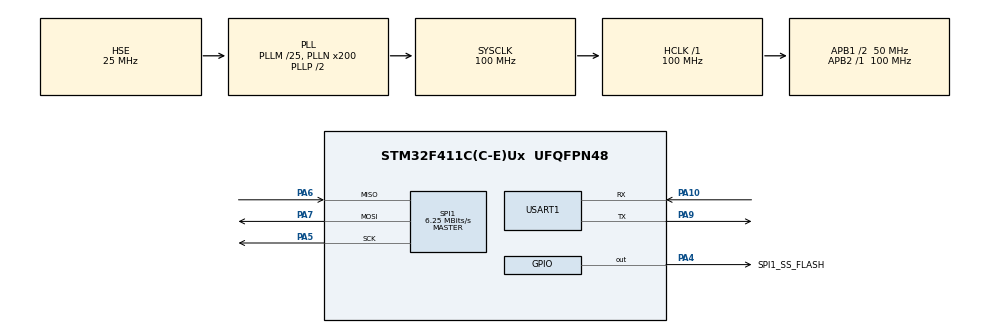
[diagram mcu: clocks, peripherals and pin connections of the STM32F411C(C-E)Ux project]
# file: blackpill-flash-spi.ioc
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FREERTOS.Tasks01=flash_task,24,512,start_flash_task,Default,NULL,Dynamic,NULL,NULL
Mcu.Family=STM32F4
Mcu.Name=STM32F411C(C-E)Ux
Mcu.Package=UFQFPN48
NVIC.PriorityGroup=NVIC_PRIORITYGROUP_4
NVIC.TIM1_UP_TIM10_IRQn=true\:15\:0\:false\:false\:true\:false\:false\:true\:true
NVIC.TimeBase=TIM1_UP_TIM10_IRQn
NVIC.TimeBaseIP=TIM1
PA10.Mode=Asynchronous
PA10.Signal=USART1_RX
PA13.Mode=Serial_Wire
PA13.Signal=SYS_JTMS-SWDIO
PA14.Mode=Serial_Wire
PA14.Signal=SYS_JTCK-SWCLK
PA4.GPIO_Label=SPI1_SS_FLASH
PA4.Signal=GPIO_Output
PA5.Mode=Full_Duplex_Master
PA5.Signal=SPI1_SCK
PA6.Mode=Full_Duplex_Master
PA6.Signal=SPI1_MISO
PA7.Mode=Full_Duplex_Master
PA7.Signal=SPI1_MOSI
PA9.Mode=Asynchronous
PA9.Signal=USART1_TX
PH0\ -\ OSC_IN.Mode=HSE-External-Oscillator
PH0\ -\ OSC_IN.Signal=RCC_OSC_IN
PH1\ -\ OSC_OUT.Mode=HSE-External-Oscillator
PH1\ -\ OSC_OUT.Signal=RCC_OSC_OUT
ProjectManager.HeapSize=0x200
ProjectManager.StackSize=0x400
ProjectManager.TargetToolchain=CMake
RCC.48MHZClocksFreq_Value=50000000
RCC.AHBFreq_Value=100000000
RCC.APB1CLKDivider=RCC_HCLK_DIV2
RCC.APB1Freq_Value=50000000
RCC.APB1TimFreq_Value=100000000
RCC.APB2Freq_Value=100000000
RCC.APB2TimFreq_Value=100000000
RCC.CortexFreq_Value=100000000
RCC.HCLKFreq_Value=100000000
RCC.HSE_VALUE=25000000
RCC.HSI_VALUE=16000000
RCC.LSE_VALUE=32768
RCC.PLLM=25
RCC.PLLN=200
RCC.PLLSourceVirtual=RCC_PLLSOURCE_HSE
RCC.SYSCLKFreq_VALUE=100000000
RCC.SYSCLKSource=RCC_SYSCLKSOURCE_PLLCLK
RCC.VCOOutputFreq_Value=200000000
SPI1.BaudRatePrescaler=SPI_BAUDRATEPRESCALER_16
SPI1.CalculateBaudRate=6.25 MBits/s
SPI1.Direction=SPI_DIRECTION_2LINES
SPI1.Mode=SPI_MODE_MASTER
SPI1.VirtualType=VM_MASTER
USART1.VirtualMode=VM_ASYNC
VP_FREERTOS_VS_CMSIS_V2.Mode=CMSIS_V2
VP_SYS_VS_tim1.Mode=TIM1
board=custom

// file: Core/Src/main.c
/* USER CODE BEGIN Header */
/**
  ******************************************************************************
  * @file           : main.c
  * @brief          : Main program body
  ******************************************************************************
  * @attention
  *
  * Copyright (c) 2026 STMicroelectronics.
  * All rights reserved.
  *
  * This software is licensed under terms that can be found in the LICENSE file
  * in the root directory of this software component.
  * If no LICENSE file comes with this software, it is provided AS-IS.
  *
  ******************************************************************************
  */
/* USER CODE END Header */
#include "main.h"
#include "cmsis_os.h"

/* USER CODE BEGIN Includes */
#include <stdint.h>
#include <stdio.h>
#include <stdlib.h>
#include "w25qxx.h"
#include "lfs.h"
#include "w25qxx_littlefs.h"
/* USER CODE END Includes */

SPI_HandleTypeDef hspi1;

UART_HandleTypeDef huart1;

/* Definitions for flash_task */
osThreadId_t flash_taskHandle;
const osThreadAttr_t flash_task_attributes = {
  .name = "flash_task",
  .stack_size = 512 * 4,
  .priority = (osPriority_t) osPriorityNormal,
};

void SystemClock_Config(void);
static void MX_GPIO_Init(void);
static void MX_SPI1_Init(void);
static void MX_USART1_UART_Init(void);
void start_flash_task(void *argument);

int main(void)
{

  /* MCU Configuration--------------------------------------------------------*/

  /* Reset of all peripherals, Initializes the Flash interface and the Systick. */
  HAL_Init();

  /* Configure the system clock */
  SystemClock_Config();

  /* Initialize all configured peripherals */
  MX_GPIO_Init();
  MX_SPI1_Init();
  MX_USART1_UART_Init();

  /* Init scheduler */
  osKernelInitialize();

  /* Create the thread(s) */
  /* creation of flash_task */
  flash_taskHandle = osThreadNew(start_flash_task, NULL, &flash_task_attributes);

  /* Start scheduler */
  osKernelStart();

  /* We should never get here as control is now taken by the scheduler */

  /* Infinite loop */
  while (1)
  {

  }
}

void SystemClock_Config(void)
{
  RCC_OscInitTypeDef RCC_OscInitStruct = {0};
  RCC_ClkInitTypeDef RCC_ClkInitStruct = {0};

  /** Configure the main internal regulator output voltage
  */
  __HAL_RCC_PWR_CLK_ENABLE();
  __HAL_PWR_VOLTAGESCALING_CONFIG(PWR_REGULATOR_VOLTAGE_SCALE1);

  /** Initializes the RCC Oscillators according to the specified parameters
  * in the RCC_OscInitTypeDef structure.
  */
  RCC_OscInitStruct.OscillatorType = RCC_OSCILLATORTYPE_HSE;
  RCC_OscInitStruct.HSEState = RCC_HSE_ON;
  RCC_OscInitStruct.PLL.PLLState = RCC_PLL_ON;
  RCC_OscInitStruct.PLL.PLLSource = RCC_PLLSOURCE_HSE;
  RCC_OscInitStruct.PLL.PLLM = 25;
  RCC_OscInitStruct.PLL.PLLN = 200;
  RCC_OscInitStruct.PLL.PLLP = RCC_PLLP_DIV2;
  RCC_OscInitStruct.PLL.PLLQ = 4;
  if (HAL_RCC_OscConfig(&RCC_OscInitStruct) != HAL_OK)
  {
    Error_Handler();
  }

  /** Initializes the CPU, AHB and APB buses clocks
  */
  RCC_ClkInitStruct.ClockType = RCC_CLOCKTYPE_HCLK|RCC_CLOCKTYPE_SYSCLK
                              |RCC_CLOCKTYPE_PCLK1|RCC_CLOCKTYPE_PCLK2;
  RCC_ClkInitStruct.SYSCLKSource = RCC_SYSCLKSOURCE_PLLCLK;
  RCC_ClkInitStruct.AHBCLKDivider = RCC_SYSCLK_DIV1;
  RCC_ClkInitStruct.APB1CLKDivider = RCC_HCLK_DIV2;
  RCC_ClkInitStruct.APB2CLKDivider = RCC_HCLK_DIV1;

  if (HAL_RCC_ClockConfig(&RCC_ClkInitStruct, FLASH_LATENCY_3) != HAL_OK)
  {
    Error_Handler();
  }
}

static void MX_SPI1_Init(void)
{

  /* SPI1 parameter configuration*/
  hspi1.Instance = SPI1;
  hspi1.Init.Mode = SPI_MODE_MASTER;
  hspi1.Init.Direction = SPI_DIRECTION_2LINES;
  hspi1.Init.DataSize = SPI_DATASIZE_8BIT;
  hspi1.Init.CLKPolarity = SPI_POLARITY_LOW;
  hspi1.Init.CLKPhase = SPI_PHASE_1EDGE;
  hspi1.Init.NSS = SPI_NSS_SOFT;
  hspi1.Init.BaudRatePrescaler = SPI_BAUDRATEPRESCALER_16;
  hspi1.Init.FirstBit = SPI_FIRSTBIT_MSB;
  hspi1.Init.TIMode = SPI_TIMODE_DISABLE;
  hspi1.Init.CRCCalculation = SPI_CRCCALCULATION_DISABLE;
  hspi1.Init.CRCPolynomial = 10;
  if (HAL_SPI_Init(&hspi1) != HAL_OK)
  {
    Error_Handler();
  }

}

static void MX_USART1_UART_Init(void)
{

  huart1.Instance = USART1;
  huart1.Init.BaudRate = 115200;
  huart1.Init.WordLength = UART_WORDLENGTH_8B;
  huart1.Init.StopBits = UART_STOPBITS_1;
  huart1.Init.Parity = UART_PARITY_NONE;
  huart1.Init.Mode = UART_MODE_TX_RX;
  huart1.Init.HwFlowCtl = UART_HWCONTROL_NONE;
  huart1.Init.OverSampling = UART_OVERSAMPLING_16;
  if (HAL_UART_Init(&huart1) != HAL_OK)
  {
    Error_Handler();
  }

}

static void MX_GPIO_Init(void)
{
  GPIO_InitTypeDef GPIO_InitStruct = {0};

  /* GPIO Ports Clock Enable */
  __HAL_RCC_GPIOH_CLK_ENABLE();
  __HAL_RCC_GPIOA_CLK_ENABLE();

  /*Configure GPIO pin Output Level */
  HAL_GPIO_WritePin(SPI1_SS_FLASH_GPIO_Port, SPI1_SS_FLASH_Pin, GPIO_PIN_RESET);

  /*Configure GPIO pin : SPI1_SS_FLASH_Pin */
  GPIO_InitStruct.Pin = SPI1_SS_FLASH_Pin;
  GPIO_InitStruct.Mode = GPIO_MODE_OUTPUT_PP;
  GPIO_InitStruct.Pull = GPIO_NOPULL;
  GPIO_InitStruct.Speed = GPIO_SPEED_FREQ_LOW;
  HAL_GPIO_Init(SPI1_SS_FLASH_GPIO_Port, &GPIO_InitStruct);

}

void start_flash_task(void *argument)
{
  /* USER CODE BEGIN 5 */
  // UART
  static const size_t UART_BUFF_LEN = 50;
  size_t uart_str_len = 0;
  char uart_buff[UART_BUFF_LEN];

  // W25Qxx
  W25QXX_HandleTypeDef w25qxx;

  // LOOP
  static const TickType_t loop_period = pdMS_TO_TICKS(1000);
  TickType_t loop_last_time = xTaskGetTickCount();
  for (int8_t i = 3; i > 0; i--) {
    uart_str_len = sprintf(uart_buff, "count: %u\n", i);
    HAL_UART_Transmit(&huart1, (uint8_t *)uart_buff, uart_str_len, 500);
    vTaskDelayUntil(&loop_last_time, loop_period);
  }

  if (w25qxx_init(&w25qxx, &hspi1, SPI1_SS_FLASH_GPIO_Port, SPI1_SS_FLASH_Pin) == W25QXX_Ok) {
    uart_str_len = sprintf(uart_buff, "W25QXX successfully initialized\n");
    HAL_UART_Transmit(&huart1, (uint8_t *)uart_buff, uart_str_len, 500);
    uart_str_len = sprintf(uart_buff, "Manufacturer = 0x%2x\n", w25qxx.manufacturer_id);
    HAL_UART_Transmit(&huart1, (uint8_t *)uart_buff, uart_str_len, 500);
    uart_str_len = sprintf(uart_buff, "Device = 0x%4x\n", w25qxx.device_id);
    HAL_UART_Transmit(&huart1, (uint8_t *)uart_buff, uart_str_len, 500);
    uart_str_len = sprintf(uart_buff, "Block size = 0x%04lx (%lu)\n", w25qxx.block_size, w25qxx.block_size);
    HAL_UART_Transmit(&huart1, (uint8_t *)uart_buff, uart_str_len, 500);
    uart_str_len = sprintf(uart_buff, "Block count = 0x%04lx (%lu)\n", w25qxx.block_count, w25qxx.block_count);
    HAL_UART_Transmit(&huart1, (uint8_t *)uart_buff, uart_str_len, 500);
    uart_str_len = sprintf(uart_buff, "Sector size = 0x%04lx (%lu)\n", w25qxx.sector_size, w25qxx.sector_size);
    HAL_UART_Transmit(&huart1, (uint8_t *)uart_buff, uart_str_len, 500);
    uart_str_len = sprintf(uart_buff, "Sector in block = 0x%04lx (%lu)\n", w25qxx.sectors_in_block, w25qxx.sectors_in_block);
    HAL_UART_Transmit(&huart1, (uint8_t *)uart_buff, uart_str_len, 500);
    uart_str_len = sprintf(uart_buff, "Total size (in kB) = 0x%04lx (%lu)\n",
                           (w25qxx.block_count * w25qxx.block_size) / 1024,
                           (w25qxx.block_count * w25qxx.block_size) / 1024);
    HAL_UART_Transmit(&huart1, (uint8_t *)uart_buff, uart_str_len, 500);
    // LittleFS INIT
    uint8_t lfs_is_init = w25qxx_littlefs_init(&w25qxx);
    uart_str_len = sprintf(uart_buff, "\nINIT LittleFS: %d\n", lfs_is_init);
    HAL_UART_Transmit(&huart1, (uint8_t *)uart_buff, uart_str_len, 500);
    if (lfs_is_init) {
      extern lfs_t littlefs;
      lfs_file_t file;

      int err_file = lfs_file_open(&littlefs, &file, "test.txt", LFS_O_RDWR | LFS_O_CREAT);
      uart_str_len = sprintf(uart_buff, "OPEN FILE: %d\n", err_file);
      HAL_UART_Transmit(&huart1, (uint8_t *)uart_buff, uart_str_len, 500);
      if (err_file >= 0) {
        // Запись в конец
        lfs_file_seek(&littlefs, &file, 0, LFS_SEEK_END);
        srand(xTaskGetTickCount());
        uart_str_len = sprintf(uart_buff, "%d\n", rand());
        lfs_file_write(&littlefs, &file, uart_buff, uart_str_len);
        // Чтение всего файла
        lfs_file_seek(&littlefs, &file, 0, LFS_SEEK_SET);
        for (;;) {
          uart_str_len =
              lfs_file_read(&littlefs, &file, uart_buff, UART_BUFF_LEN - 1);
          if (uart_str_len > 0) {
            uart_buff[uart_str_len] = '\0';
            HAL_UART_Transmit(&huart1, (uint8_t *)uart_buff, uart_str_len, 500);
          } else {
            break;
          }
        }
        lfs_file_close(&littlefs, &file);
        uart_str_len = sprintf(uart_buff, "CLOSE FILE\n");
        HAL_UART_Transmit(&huart1, (uint8_t *)uart_buff, uart_str_len, 500);
      }
      uart_str_len = sprintf(uart_buff, "UNMOUNT LittleFS\n\n");
      HAL_UART_Transmit(&huart1, (uint8_t *)uart_buff, uart_str_len, 500);
      lfs_unmount(&littlefs);
    }
  }

  for (;;) {
    vTaskDelayUntil(&loop_last_time, loop_period);
  }
  /* USER CODE END 5 */
}

void HAL_TIM_PeriodElapsedCallback(TIM_HandleTypeDef *htim)
{
  if (htim->Instance == TIM1)
  {
    HAL_IncTick();
  }
}

void Error_Handler(void)
{
  __disable_irq();
  while (1)
  {
  }
}
